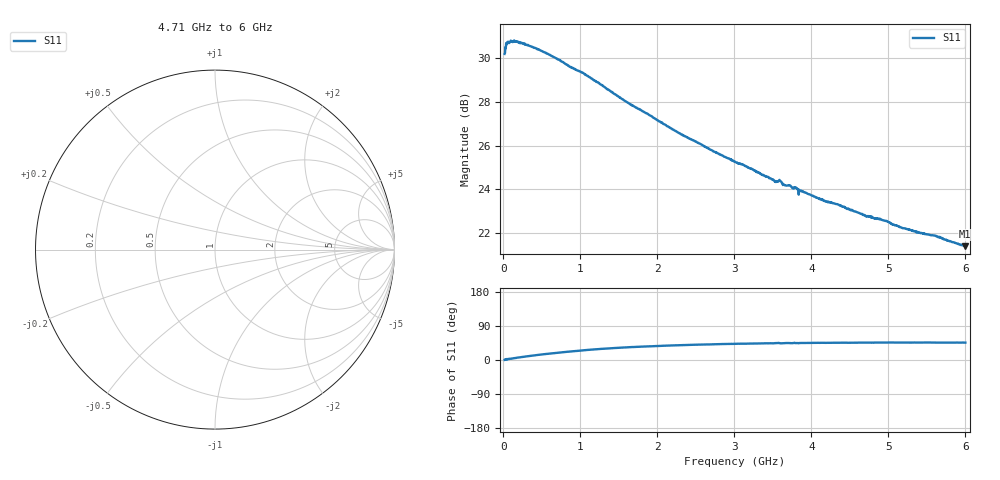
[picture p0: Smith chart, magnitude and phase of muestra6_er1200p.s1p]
! NanoVNA-UTN-Toolkit permittivity export -- NOT S-parameters
! ES: Permitividad relativa compleja de la muestra. NO es S11: se guarda en
! ES: formato Touchstone solo para poder graficarla con visores de .s1p.
! EN: Complex relative permittivity of the sample. NOT S11: the Touchstone
! EN: format is used only so that .s1p viewers can plot it.
! Columns / Columnas: f (Hz) | eps' | eps'' (loss >= 0); eps_r = eps' - j*eps''
! Sample / Muestra: muestra6
! Technique / Tecnica: Open-ended coaxial probe (liquids)
! References / Referencias: water + ipa
! Probe / Sonda: 3 mm probe (C0 0.019 pF)
! Temperature / Temperatura: 23.0 °C
! Reliable from 45 MHz: points below are not reliable / Confiable desde 45 MHz: los puntos inferiores no son confiables
! Spike removal replaced 1 isolated S11 point(s) before solving / La remocion de picos reemplazo 1 punto(s) aislado(s) de S11
! 2 point(s) without a solution omitted / 2 punto(s) sin solucion omitidos
! Exported / Exportado: 2026-10-24T12:05:50
# Hz S RI R 50
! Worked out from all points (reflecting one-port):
!   1198 points, 15 MHz to 6 GHz, reference 50 ohm
!   lowest |S11| = 21.4 dB at 5.995 GHz (marker M1)
!   phase of S11 starts at 0 deg and turns +45 deg over the sweep
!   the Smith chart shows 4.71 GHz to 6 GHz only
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1.5e7  32.41 0.1924
5e7  34.19 0.9834
6e7  34.54 1.355
1.15e8  34.57 2.458
1.6e8  34.39 3.216
2.7e8  33.71 5.176
4.55e8  32.23 7.744
5.9e8  30.95 9.238
7.65e8  29.11 10.87
8.6e8  28.01 11.46
1.01e9  26.68 12.46
1.11e9  25.58 12.97
1.29e9  23.82 13.48
1.515e9  21.71 13.84
1.685e9  20.35 13.81
2.26e9  16.61 13.5
2.75e9  14.41 12.8
3.01e9  13.47 12.37
3.51e9  11.94 11.53
3.55e9  11.7 11.6
3.605e9  11.88 11.45
3.655e9  11.52 11.34
3.76e9  11.29 11.2
4.095e9  10.59 10.73
4.505e9  9.941 10.14
5.255e9  8.874 9.223
5.995e9  8.157 8.412
6e9  8.175 8.413
